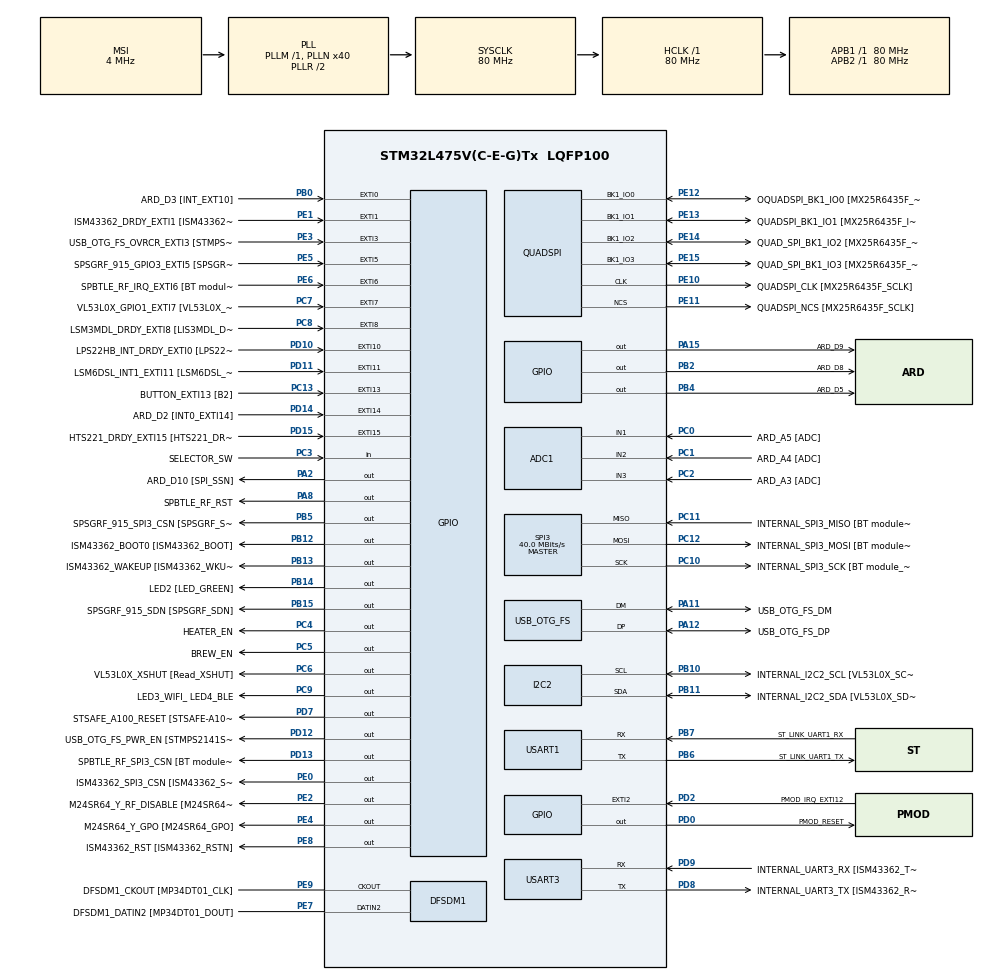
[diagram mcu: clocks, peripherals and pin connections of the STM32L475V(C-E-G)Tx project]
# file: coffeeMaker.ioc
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ADC1.Channel-0\#ChannelRegularConversion=ADC_CHANNEL_1
ADC1.NbrOfConversionFlag=1
ADC1.OffsetNumber-0\#ChannelRegularConversion=ADC_OFFSET_NONE
ADC1.Rank-0\#ChannelRegularConversion=1
ADC1.SamplingTime-0\#ChannelRegularConversion=ADC_SAMPLETIME_2CYCLES_5
ADC1.master=1
I2C2.Timing=0x10909CEC
Mcu.Family=STM32L4
Mcu.Name=STM32L475V(C-E-G)Tx
Mcu.Package=LQFP100
NVIC.EXTI15_10_IRQn=true\:0\:0\:false\:false\:true\:true\:true
NVIC.EXTI9_5_IRQn=true\:0\:0\:false\:false\:true\:true\:true
NVIC.PriorityGroup=NVIC_PRIORITYGROUP_4
NVIC.TIM1_UP_TIM16_IRQn=true\:0\:0\:false\:false\:true\:false\:true
NVIC.TimeBase=TIM1_UP_TIM16_IRQn
NVIC.TimeBaseIP=TIM1
PA0.GPIO_Label=ARD_D1 [UART4_TX]
PA0.Signal=UART4_TX
PA1.GPIO_Label=ARD_D0 [UART4_RX]
PA1.Signal=UART4_RX
PA10.GPIO_Label=USB_OTG_FS_ID
PA10.Signal=USB_OTG_FS_ID
PA11.GPIO_Label=USB_OTG_FS_DM
PA11.Mode=Device_Only
PA11.Signal=USB_OTG_FS_DM
PA12.GPIO_Label=USB_OTG_FS_DP
PA12.Mode=Device_Only
PA12.Signal=USB_OTG_FS_DP
PA13\ (JTMS-SWDIO).GPIO_Label=SYS_JTMS_SWDIO
PA13\ (JTMS-SWDIO).Mode=Serial_Wire
PA13\ (JTMS-SWDIO).Signal=SYS_JTMS-SWDIO
PA14\ (JTCK-SWCLK).GPIO_Label=SYS_JTCK_SWCLK
PA14\ (JTCK-SWCLK).Mode=Serial_Wire
PA14\ (JTCK-SWCLK).Signal=SYS_JTCK-SWCLK
PA15\ (JTDI).GPIO_Label=ARD_D9
PA15\ (JTDI).Signal=GPIO_Output
PA2.GPIO_Label=ARD_D10 [SPI_SSN]
PA2.Signal=GPIO_Output
PA3.GPIO_Label=ARD_D4
PA3.Signal=S_TIM2_CH4
PA4.GPIO_Label=ARD_D7
PA4.Signal=ADCx_IN9
PA5.GPIO_Label=ARD_D13 [SPI1_SCK]
PA5.Signal=SPI1_SCK
PA6.GPIO_Label=ARD_D12 [SPI1_MISO]
PA6.Signal=SPI1_MISO
PA7.GPIO_Label=ARD_D11 [SPI1_MOSI]
PA7.Signal=SPI1_MOSI
PA8.GPIO_Label=SPBTLE_RF_RST
PA8.Signal=GPIO_Output
PA9.GPIO_Label=USB_OTG_FS_VBUS [STMPS2141STR_OUT]
PA9.Signal=USB_OTG_FS_VBUS
PB0.GPIO_Label=ARD_D3 [INT_EXT10]
PB0.Signal=GPXTI0
PB1.GPIO_Label=ARD_D6 [ADC1_IN6]
PB1.Signal=ADCx_IN16
PB10.GPIO_Label=INTERNAL_I2C2_SCL [VL53L0X_SCL]
PB10.Mode=I2C
PB10.Signal=I2C2_SCL
PB11.GPIO_Label=INTERNAL_I2C2_SDA [VL53L0X_SDA]
PB11.Mode=I2C
PB11.Signal=I2C2_SDA
PB12.GPIO_Label=ISM43362_BOOT0 [ISM43362_BOOT]
PB12.Signal=GPIO_Output
PB13.GPIO_Label=ISM43362_WAKEUP [ISM43362_WKUP]
PB13.Signal=GPIO_Output
PB14.GPIO_Label=LED2 [LED_GREEN]
PB14.Signal=GPIO_Output
PB15.GPIO_Label=SPSGRF_915_SDN [SPSGRF_SDN]
PB15.Signal=GPIO_Output
PB2.GPIO_Label=ARD_D8
PB2.Signal=GPIO_Output
PB3\ (JTDO-TRACESWO).GPIO_Label=SYS_JTD0_SWO
PB3\ (JTDO-TRACESWO).Signal=SYS_JTDO-SWO
PB4\ (NJTRST).GPIO_Label=ARD_D5
PB4\ (NJTRST).Signal=GPIO_Output
PB5.GPIO_Label=SPSGRF_915_SPI3_CSN [SPSGRF_SPI_CS]
PB5.PinState=GPIO_PIN_SET
PB5.Signal=GPIO_Output
PB6.GPIO_Label=ST_LINK_UART1_TX
PB6.Mode=Asynchronous
PB6.Signal=USART1_TX
PB7.GPIO_Label=ST_LINK_UART1_RX
PB7.Mode=Asynchronous
PB7.Signal=USART1_RX
PB8.GPIO_Label=ARD_D15 [I2C1_SCL]
PB8.Signal=I2C1_SCL
PB9.GPIO_Label=ARD_D14 [I2C1_SDA]
PB9.Signal=I2C1_SDA
PC0.GPIO_Label=ARD_A5 [ADC]
PC0.Signal=ADCx_IN1
PC1.GPIO_Label=ARD_A4 [ADC]
PC1.Signal=ADCx_IN2
PC10.GPIO_Label=INTERNAL_SPI3_SCK [BT module_SPI_SCLK] [ISM43362_SCK]
PC10.Mode=Full_Duplex_Master
PC10.Signal=SPI3_SCK
PC11.GPIO_Label=INTERNAL_SPI3_MISO [BT module_SPI_MISO] [ISM43362_MISO]
PC11.Mode=Full_Duplex_Master
PC11.Signal=SPI3_MISO
PC12.GPIO_Label=INTERNAL_SPI3_MOSI [BT module_SPI_MOSI] [ISM43362_MOSI]
PC12.Mode=Full_Duplex_Master
PC12.Signal=SPI3_MOSI
PC13.GPIO_Label=BUTTON_EXTI13 [B2]
PC13.GPIO_ModeDefaultEXTI=GPIO_MODE_IT_FALLING
PC13.Signal=GPXTI13
PC14-OSC32_IN\ (PC14).Mode=LSE-External-Oscillator
PC14-OSC32_IN\ (PC14).Signal=RCC_OSC32_IN
PC15-OSC32_OUT\ (PC15).Mode=LSE-External-Oscillator
PC15-OSC32_OUT\ (PC15).Signal=RCC_OSC32_OUT
PC2.GPIO_Label=ARD_A3 [ADC]
PC2.Signal=ADCx_IN3
PC3.GPIO_Label=SELECTOR_SW
PC3.Signal=GPIO_Input
PC4.GPIO_Label=HEATER_EN
PC4.GPIO_PuPd=GPIO_NOPULL
PC4.Signal=GPIO_Output
PC5.GPIO_Label=BREW_EN
PC5.Signal=GPIO_Output
PC6.GPIO_Label=VL53L0X_XSHUT [Read_XSHUT]
PC6.Signal=GPIO_Output
PC7.GPIO_Label=VL53L0X_GPIO1_EXTI7 [VL53L0X_GPIO1]
PC7.Signal=GPXTI7
PC8.GPIO_Label=LSM3MDL_DRDY_EXTI8 [LIS3MDL_DRDY]
PC8.Signal=GPXTI8
PC9.GPIO_Label=LED3_WIFI_ LED4_BLE
PC9.Signal=GPIO_Output
PD0.GPIO_Label=PMOD_RESET
PD0.Signal=GPIO_Output
PD1.GPIO_Label=PMOD_SPI2_SCK
PD1.Signal=SPI2_SCK
PD10.GPIO_Label=LPS22HB_INT_DRDY_EXTI0 [LPS22HB_INT_DRDY] 
PD10.Signal=GPXTI10
PD11.GPIO_Label=LSM6DSL_INT1_EXTI11 [LSM6DSL_INT1]
PD11.Signal=GPXTI11
PD12.GPIO_Label=USB_OTG_FS_PWR_EN [STMPS2141STR_EN]
PD12.Signal=GPIO_Output
PD13.GPIO_Label=SPBTLE_RF_SPI3_CSN [BT module_SPI_CS]
PD13.PinState=GPIO_PIN_SET
PD13.Signal=GPIO_Output
PD14.GPIO_Label=ARD_D2 [INT0_EXTI14]
PD14.Signal=GPXTI14
PD15.GPIO_Label=HTS221_DRDY_EXTI15 [HTS221_DRDY]
PD15.Signal=GPXTI15
PD2.GPIO_Label=PMOD_IRQ_EXTI12
PD2.Signal=GPXTI2
PD3.GPIO_Label=PMOD_UART2_CTS
PD3.Signal=USART2_CTS
PD4.GPIO_Label=PMOD_UART2_RTS
PD4.Signal=USART2_RTS
PD5.GPIO_Label=PMOD_UART2_TX
PD5.Signal=USART2_TX
PD6.GPIO_Label=PMOD_UART2_RX
PD6.Signal=USART2_RX
PD7.GPIO_Label=STSAFE_A100_RESET [STSAFE-A100_RESET]
PD7.Signal=GPIO_Output
PD8.GPIO_Label=INTERNAL_UART3_TX [ISM43362_RX]
PD8.Mode=Asynchronous
PD8.Signal=USART3_TX
PD9.GPIO_Label=INTERNAL_UART3_RX [ISM43362_TX]
PD9.Mode=Asynchronous
PD9.Signal=USART3_RX
PE0.GPIO_Label=ISM43362_SPI3_CSN [ISM43362_SSN]
PE0.PinState=GPIO_PIN_SET
PE0.Signal=GPIO_Output
PE1.GPIO_Label=ISM43362_DRDY_EXTI1 [ISM43362_DATARDY]
PE1.Signal=GPXTI1
PE10.GPIO_Label=QUADSPI_CLK [MX25R6435F_SCLK]
PE10.Mode=Single Bank
PE10.Signal=QUADSPI_CLK
PE11.GPIO_Label=QUADSPI_NCS [MX25R6435F_SCLK]
PE11.Mode=Single Bank
PE11.Signal=QUADSPI_NCS
PE12.GPIO_Label=OQUADSPI_BK1_IO0 [MX25R6435F_IO0]
PE12.Mode=Single Bank
PE12.Signal=QUADSPI_BK1_IO0
PE13.GPIO_Label=QUADSPI_BK1_IO1 [MX25R6435F_IO1]
PE13.Mode=Single Bank
PE13.Signal=QUADSPI_BK1_IO1
PE14.GPIO_Label=QUAD_SPI_BK1_IO2 [MX25R6435F_IO2]
PE14.Mode=Single Bank
PE14.Signal=QUADSPI_BK1_IO2
PE15.GPIO_Label=QUAD_SPI_BK1_IO3 [MX25R6435F_IO3]
PE15.Mode=Single Bank
PE15.Signal=QUADSPI_BK1_IO3
PE2.GPIO_Label=M24SR64_Y_RF_DISABLE [M24SR64_RFDIS]
PE2.Signal=GPIO_Output
PE3.GPIO_Label=USB_OTG_FS_OVRCR_EXTI3 [STMPS2141STR_FAULT]
PE3.Signal=GPXTI3
PE4.GPIO_Label=M24SR64_Y_GPO [M24SR64_GPO]
PE4.Signal=GPIO_Output
PE5.GPIO_Label=SPSGRF_915_GPIO3_EXTI5 [SPSGRF_GPIO_3]
PE5.Signal=GPXTI5
PE6.GPIO_Label=SPBTLE_RF_IRQ_EXTI6 [BT module_SPI_IRQ]
PE6.Signal=GPXTI6
PE7.GPIO_Label=DFSDM1_DATIN2 [MP34DT01_DOUT]
PE7.Signal=S_DATAIN2DFSDM1
PE8.GPIO_Label=ISM43362_RST [ISM43362_RSTN]
PE8.Signal=GPIO_Output
PE9.GPIO_Label=DFSDM1_CKOUT [MP34DT01_CLK]
PE9.Signal=S_CKOUTDFSDM1
ProjectManager.HeapSize=0x200
ProjectManager.StackSize=0x400
ProjectManager.TargetToolchain=STM32CubeIDE
RCC.ADCFreq_Value=48000000
RCC.AHBFreq_Value=80000000
RCC.APB1Freq_Value=80000000
RCC.APB1TimFreq_Value=80000000
RCC.APB2Freq_Value=80000000
RCC.APB2TimFreq_Value=80000000
RCC.CortexFreq_Value=80000000
RCC.HCLKFreq_Value=80000000
RCC.HSE_VALUE=8000000
RCC.HSI_VALUE=16000000
RCC.MSI_VALUE=4000000
RCC.PLLN=40
RCC.PLLSAI1N=24
RCC.SYSCLKFreq_VALUE=80000000
RCC.SYSCLKSource=RCC_SYSCLKSOURCE_PLLCLK
RCC.USBFreq_Value=48000000
RCC.VCOOutputFreq_Value=160000000
SH.ADCx_IN1.0=ADC1_IN1,IN1-Single-Ended
SH.ADCx_IN16.0=ADC1_IN16
SH.ADCx_IN2.0=ADC1_IN2,IN2-Single-Ended
SH.ADCx_IN3.0=ADC1_IN3,IN3-Single-Ended
SH.ADCx_IN9.0=ADC1_IN9
SH.S_CKOUTDFSDM1.0=DFSDM1_CKOUT,CKOUT
SH.S_CKOUTDFSDM1.1=DFSDM1_CKOUT,PDM_SPI_Input_from_ch12_and_Internal_Clock
SH.S_DATAIN2DFSDM1.0=DFSDM1_DATIN2,PDM_SPI_Input_from_ch12_and_Internal_Clock
SH.S_TIM2_CH4.0=TIM2_CH4
SPI3.CalculateBaudRate=40.0 MBits/s
SPI3.Direction=SPI_DIRECTION_2LINES
SPI3.Mode=SPI_MODE_MASTER
SPI3.VirtualType=VM_MASTER
USART1.VirtualMode-Asynchronous=VM_ASYNC
USART3.VirtualMode-Asynchronous=VM_ASYNC
USB_OTG_FS.VirtualMode=Device_Only
VP_SYS_VS_tim1.Mode=TIM1
board=B-L475E-IOT01A1

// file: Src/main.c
/* USER CODE BEGIN Header */
/**
  ******************************************************************************
  * @file           : main.c
  * @brief          : Main program body
  ******************************************************************************
  * @attention
  *
  * <h2><center>&copy; Copyright (c) 2020 STMicroelectronics.
  * All rights reserved.</center></h2>
  *
  * This software component is licensed by ST under BSD 3-Clause license,
  * the "License"; You may not use this file except in compliance with the
  * License. You may obtain a copy of the License at:
  *                        opensource.org/licenses/BSD-3-Clause
  *
  ******************************************************************************
  */
/* USER CODE END Header */

#include "main.h"

/* USER CODE BEGIN Includes */
#include "stdio.h"
#include "string.h"
/* USER CODE END Includes */

/* USER CODE BEGIN PD */
#define RED_ON_BLK  "31;40"
#define WHT_ON_BLK  "37;40"
#define YEL_ON_BLK  "33;40"
#define GRN_ON_BLK  "32;40"
#define BLU_ON_BLK  "34;40"

#define BLK_ON_RED  "30;41"
#define BLK_ON_WHT  "30;47"
#define BLK_ON_YEL  "30;43"
#define BLK_ON_GRN  "30;42"

#define NORMAL WHT_ON_BLK

#define SET_WARM_MODE(enable) HAL_GPIO_WritePin(HEATER_EN_GPIO_Port, HEATER_EN_Pin, !enable)
#define SET_BREW_MODE(enable) HAL_GPIO_WritePin(BREW_EN_GPIO_Port, BREW_EN_Pin, !enable)
#define GET_SELECTOR_SW !HAL_GPIO_ReadPin(BUTTON_EXTI13_GPIO_Port, BUTTON_EXTI13_Pin)

#define SELECT_SET_LEVEL        1
#define SELECT_SET_TEMPERATURE  2

/* USER CODE END PD */

ADC_HandleTypeDef hadc1;

DFSDM_Channel_HandleTypeDef hdfsdm1_channel1;

I2C_HandleTypeDef hi2c2;

QSPI_HandleTypeDef hqspi;

SPI_HandleTypeDef hspi3;

UART_HandleTypeDef huart1;
UART_HandleTypeDef huart3;

PCD_HandleTypeDef hpcd_USB_OTG_FS;

void SystemClock_Config(void);
static void MX_GPIO_Init(void);
static void MX_ADC1_Init(void);
static void MX_DFSDM1_Init(void);
static void MX_I2C2_Init(void);
static void MX_QUADSPI_Init(void);
static void MX_SPI3_Init(void);
static void MX_USART1_UART_Init(void);
static void MX_USART3_UART_Init(void);
static void MX_USB_OTG_FS_PCD_Init(void);

/* USER CODE BEGIN 0 */

void ansiEscapePrint(uint8_t x, uint8_t y, char * color, char * str)
{
  char buf[80];
  sprintf(buf, "\033[%d;%dH\033[%sm%s", y, x, color, str);
  HAL_UART_Transmit(&huart1, (uint8_t *)buf, strlen(buf), 1000);
  sprintf(buf, "\033[1D");
  HAL_UART_Transmit(&huart1, (uint8_t *)buf, strlen(buf), 1000);
}

/* USER CODE END 0 */

int main(void)
{

  /* MCU Configuration--------------------------------------------------------*/

  /* Reset of all peripherals, Initializes the Flash interface and the Systick. */
  HAL_Init();

  /* Configure the system clock */
  SystemClock_Config();

  /* Initialize all configured peripherals */
  MX_GPIO_Init();
  MX_ADC1_Init();
  MX_DFSDM1_Init();
  MX_I2C2_Init();
  MX_QUADSPI_Init();
  MX_SPI3_Init();
  MX_USART1_UART_Init();
  MX_USART3_UART_Init();
  MX_USB_OTG_FS_PCD_Init();

  /* Infinite loop */
  /* USER CODE BEGIN WHILE */
  uint32_t adcSelector;
  uint32_t selectorSw;
  uint32_t selectMode = 0;
  uint32_t enableBrew = 0;
  uint32_t adcLevel;
  uint32_t adcTemperature;
  uint32_t tempSetpoint=10;
  uint32_t levelSetpoint=0;

  char buf[256];

  int16_t y = 20;
  int16_t old_y = y;

  ADC_ChannelConfTypeDef sConfig;
      sConfig.Channel = ADC_CHANNEL_1;
      sConfig.Rank = ADC_REGULAR_RANK_1;
      sConfig.SamplingTime = ADC_SAMPLETIME_2CYCLES_5;
      sConfig.SingleDiff = ADC_SINGLE_ENDED;
      sConfig.OffsetNumber = ADC_OFFSET_NONE;
      sConfig.Offset = 0;

  snprintf(buf, sizeof(buf), "\033[2J");
  HAL_UART_Transmit(&huart1, (uint8_t *)buf, strlen(buf), 1000);
  ansiEscapePrint(0, 1, BLU_ON_BLK,  "Welcome to Embedded Real-Time Operating Systems (RTOS)");
  ansiEscapePrint(0, 2, BLU_ON_BLK,  "~~~~~~~~~~~~~~~~~~~~~~~~~~~~~~~~~~~~~~~~~~~~~~~~~~~~~~");
  ansiEscapePrint(0, 3, BLU_ON_BLK,  "~            Assignment: Final Project               ~");
  ansiEscapePrint(0, 4, BLU_ON_BLK,  "~         Course Number: ECE-40290                   ~");
  ansiEscapePrint(0, 5, BLU_ON_BLK,  "~            Section ID: 146369                      ~");
  ansiEscapePrint(0, 6, BLU_ON_BLK,  "~          Student Name: Chris Isabelle              ~");
  ansiEscapePrint(0, 7, BLU_ON_BLK,  "~                   SID: U01136665                   ~");
  ansiEscapePrint(0, 8, BLU_ON_BLK,  "~~~~~~~~~~~~~~~~~~~~~~~~~~~~~~~~~~~~~~~~~~~~~~~~~~~~~~");

  ansiEscapePrint(4, 10, YEL_ON_BLK,  "  Coffee Level (oz)");
  ansiEscapePrint(16, 11, YEL_ON_BLK,  "   Set:");
  ansiEscapePrint(24, 11, RED_ON_BLK,  "unknown");
  ansiEscapePrint(16, 12, YEL_ON_BLK,  "Actual:");

  ansiEscapePrint(4, 14, YEL_ON_BLK,  "  Coffee Temperature (degC)");
  ansiEscapePrint(16, 15, YEL_ON_BLK,  "   Set:");
  ansiEscapePrint(24, 15, RED_ON_BLK,  "unknown");
  ansiEscapePrint(16, 16, YEL_ON_BLK,  "Actual:");

  ansiEscapePrint(4, 18, YEL_ON_BLK,  "  Start Brew");
  ansiEscapePrint(4, 20, GRN_ON_BLK,  ">>Use Joy-Stick to Select");

  SET_WARM_MODE(0);
  SET_BREW_MODE(0);

  while (1)
  {
    if(!enableBrew)
    {
      selectorSw = GET_SELECTOR_SW;

      sConfig.Channel = ADC_CHANNEL_1;
      HAL_ADC_ConfigChannel(&hadc1, &sConfig);
      HAL_ADC_Start(&hadc1);
      while(HAL_ADC_PollForConversion(&hadc1, HAL_MAX_DELAY)!=HAL_OK);
      adcSelector = HAL_ADC_GetValue(&hadc1);

      y += (((int16_t)adcSelector)-1790)/512;
      y=y>0xf?0xf:y;
      y=y<0?0:y;

      if(selectorSw)
      {
        if(selectMode)
        {
          selectMode = 0;
          y=0xc;
          ansiEscapePrint(4, 20, GRN_ON_BLK,  ">>Use Joy-Stick to Select ");
        }
        else
        {
          switch(y&0xc)
          {
            case(0x0):  selectMode = SELECT_SET_LEVEL;
                        HAL_Delay(500);
                        continue;
            case(0x4):  selectMode = SELECT_SET_TEMPERATURE;
                        HAL_Delay(500);
                        continue;
            case(0x8):  selectMode = 0;
                        enableBrew = 1;
                        ansiEscapePrint(4, 18, YEL_ON_BLK,  "  Start Brew");
                        ansiEscapePrint(6, 24, GRN_ON_BLK,  "~~~~~~~~~~~~~~~~~~~~~~~~~~~");
                        ansiEscapePrint(6, 25, GRN_ON_BLK,  "~    Coffee Brew :        ~");
                        ansiEscapePrint(6, 26, GRN_ON_BLK,  "~  Coffee Warmer :        ~");
                        ansiEscapePrint(6, 27, GRN_ON_BLK,  "~~~~~~~~~~~~~~~~~~~~~~~~~~~");
                        continue;
          }
        }
      }

      switch(selectMode)
      {
        case(SELECT_SET_LEVEL):
            if(adcSelector > 3096)
              levelSetpoint--;
            if(adcSelector < 1024)
              levelSetpoint++;
            if(levelSetpoint > 20)
              levelSetpoint=20;
            if(levelSetpoint < 4)
              levelSetpoint=4;
            sprintf(buf, "%li oz    ", levelSetpoint);
            ansiEscapePrint(24, 11, GRN_ON_BLK,  buf);
            HAL_Delay(250);
            continue;
            break;
        case(SELECT_SET_TEMPERATURE):
            if(adcSelector > 3096)
              tempSetpoint--;
            if(adcSelector < 1024)
              tempSetpoint++;
            if(tempSetpoint>60)
              tempSetpoint=60;
            if(tempSetpoint<24)
              tempSetpoint=24;
            sprintf(buf, "%li degC / %li degF ", tempSetpoint, (uint32_t)((double)tempSetpoint * 1.8) + 32);
            ansiEscapePrint(24, 15, GRN_ON_BLK,  buf);
            HAL_Delay(250);
            continue;
            break;
      }

      if(y!=old_y)
      {
        ansiEscapePrint(4, 10, YEL_ON_BLK,  "  Coffee Level (oz)");
        ansiEscapePrint(4, 14, YEL_ON_BLK,  "  Coffee Temperature (degC)");
        ansiEscapePrint(4, 18, YEL_ON_BLK,  "  Start Brew");
        ansiEscapePrint(4, 20, YEL_ON_BLK,  "  Use Joy-Stick to Select");
        switch(y&0xc)
        {
          case(0x0):ansiEscapePrint(4, 10, GRN_ON_BLK,  ">>Coffee Level (oz) "); break;
          case(0x4):ansiEscapePrint(4, 14, GRN_ON_BLK,  ">>Coffee Temperature (degC) "); break;
          case(0x8):ansiEscapePrint(4, 18, GRN_ON_BLK,  ">>Start Brew "); break;
          case(0xc):ansiEscapePrint(4, 20, GRN_ON_BLK,  ">>Use Joy-Stick to Select "); break;
        }
        old_y=y;
      }

      HAL_Delay(250);

    }
    else
    {

      sConfig.Channel = ADC_CHANNEL_2;
      HAL_ADC_ConfigChannel(&hadc1, &sConfig);
      HAL_ADC_Start(&hadc1);
      while(HAL_ADC_PollForConversion(&hadc1, HAL_MAX_DELAY)!=HAL_OK);
      adcLevel = HAL_ADC_GetValue(&hadc1);
      adcLevel = (uint32_t)( ((float)HAL_ADC_GetValue(&hadc1)/4096) * 24);

      sprintf(buf, "%li oz  ", adcLevel);
      ansiEscapePrint(24, 12, GRN_ON_BLK,  buf);

      sConfig.Channel = ADC_CHANNEL_3;
      HAL_ADC_ConfigChannel(&hadc1, &sConfig);
      HAL_ADC_Start(&hadc1);
      while(HAL_ADC_PollForConversion(&hadc1, HAL_MAX_DELAY)!=HAL_OK);
      adcTemperature = HAL_ADC_GetValue(&hadc1);
      adcTemperature = (uint32_t)( ((float)HAL_ADC_GetValue(&hadc1)/4096) * 100);

      sprintf(buf, "%li degC / %li degF ", adcTemperature, (uint32_t)((double)adcTemperature * 1.8) + 32);
      ansiEscapePrint(24, 16, GRN_ON_BLK,  buf);

      if(adcLevel >= levelSetpoint)
      {
        SET_BREW_MODE(0);
        ansiEscapePrint(25, 25, RED_ON_BLK,  "READY");
      }
      else
      {
        SET_BREW_MODE(1);
        ansiEscapePrint(25, 25, GRN_ON_BLK,  "ON ");
      }

      if(adcTemperature > (tempSetpoint+1))
      {
        SET_WARM_MODE(0);
        ansiEscapePrint(25, 26, YEL_ON_BLK,  "OFF");
      }

      if(adcTemperature < (tempSetpoint-1))
      {
        SET_WARM_MODE(1);
        ansiEscapePrint(25, 26, RED_ON_BLK,  "ON ");
      }

      ansiEscapePrint(0, 0, WHT_ON_BLK,  "");
    }
    /* USER CODE END WHILE */

  }
}

void SystemClock_Config(void)
{
  RCC_OscInitTypeDef RCC_OscInitStruct = {0};
  RCC_ClkInitTypeDef RCC_ClkInitStruct = {0};
  RCC_PeriphCLKInitTypeDef PeriphClkInit = {0};

  /** Configure LSE Drive Capability
  */
  HAL_PWR_EnableBkUpAccess();
  __HAL_RCC_LSEDRIVE_CONFIG(RCC_LSEDRIVE_LOW);
  /** Initializes the CPU, AHB and APB busses clocks
  */
  RCC_OscInitStruct.OscillatorType = RCC_OSCILLATORTYPE_LSE|RCC_OSCILLATORTYPE_MSI;
  RCC_OscInitStruct.LSEState = RCC_LSE_ON;
  RCC_OscInitStruct.MSIState = RCC_MSI_ON;
  RCC_OscInitStruct.MSICalibrationValue = 0;
  RCC_OscInitStruct.MSIClockRange = RCC_MSIRANGE_6;
  RCC_OscInitStruct.PLL.PLLState = RCC_PLL_ON;
  RCC_OscInitStruct.PLL.PLLSource = RCC_PLLSOURCE_MSI;
  RCC_OscInitStruct.PLL.PLLM = 1;
  RCC_OscInitStruct.PLL.PLLN = 40;
  RCC_OscInitStruct.PLL.PLLP = RCC_PLLP_DIV7;
  RCC_OscInitStruct.PLL.PLLQ = RCC_PLLQ_DIV2;
  RCC_OscInitStruct.PLL.PLLR = RCC_PLLR_DIV2;
  if (HAL_RCC_OscConfig(&RCC_OscInitStruct) != HAL_OK)
  {
    Error_Handler();
  }
  /** Initializes the CPU, AHB and APB busses clocks
  */
  RCC_ClkInitStruct.ClockType = RCC_CLOCKTYPE_HCLK|RCC_CLOCKTYPE_SYSCLK
                              |RCC_CLOCKTYPE_PCLK1|RCC_CLOCKTYPE_PCLK2;
  RCC_ClkInitStruct.SYSCLKSource = RCC_SYSCLKSOURCE_PLLCLK;
  RCC_ClkInitStruct.AHBCLKDivider = RCC_SYSCLK_DIV1;
  RCC_ClkInitStruct.APB1CLKDivider = RCC_HCLK_DIV1;
  RCC_ClkInitStruct.APB2CLKDivider = RCC_HCLK_DIV1;

  if (HAL_RCC_ClockConfig(&RCC_ClkInitStruct, FLASH_LATENCY_4) != HAL_OK)
  {
    Error_Handler();
  }
  PeriphClkInit.PeriphClockSelection = RCC_PERIPHCLK_USART1|RCC_PERIPHCLK_USART3
                              |RCC_PERIPHCLK_I2C2|RCC_PERIPHCLK_DFSDM1
                              |RCC_PERIPHCLK_USB|RCC_PERIPHCLK_ADC;
  PeriphClkInit.Usart1ClockSelection = RCC_USART1CLKSOURCE_PCLK2;
  PeriphClkInit.Usart3ClockSelection = RCC_USART3CLKSOURCE_PCLK1;
  PeriphClkInit.I2c2ClockSelection = RCC_I2C2CLKSOURCE_PCLK1;
  PeriphClkInit.AdcClockSelection = RCC_ADCCLKSOURCE_PLLSAI1;
  PeriphClkInit.Dfsdm1ClockSelection = RCC_DFSDM1CLKSOURCE_PCLK;
  PeriphClkInit.UsbClockSelection = RCC_USBCLKSOURCE_PLLSAI1;
  PeriphClkInit.PLLSAI1.PLLSAI1Source = RCC_PLLSOURCE_MSI;
  PeriphClkInit.PLLSAI1.PLLSAI1M = 1;
  PeriphClkInit.PLLSAI1.PLLSAI1N = 24;
  PeriphClkInit.PLLSAI1.PLLSAI1P = RCC_PLLP_DIV7;
  PeriphClkInit.PLLSAI1.PLLSAI1Q = RCC_PLLQ_DIV2;
  PeriphClkInit.PLLSAI1.PLLSAI1R = RCC_PLLR_DIV2;
  PeriphClkInit.PLLSAI1.PLLSAI1ClockOut = RCC_PLLSAI1_48M2CLK|RCC_PLLSAI1_ADC1CLK;
  if (HAL_RCCEx_PeriphCLKConfig(&PeriphClkInit) != HAL_OK)
  {
    Error_Handler();
  }
  /** Configure the main internal regulator output voltage
  */
  if (HAL_PWREx_ControlVoltageScaling(PWR_REGULATOR_VOLTAGE_SCALE1) != HAL_OK)
  {
    Error_Handler();
  }
  /** Enable MSI Auto calibration
  */
  HAL_RCCEx_EnableMSIPLLMode();
}

static void MX_ADC1_Init(void)
{

  ADC_MultiModeTypeDef multimode = {0};
  ADC_ChannelConfTypeDef sConfig = {0};

  /** Common config
  */
  hadc1.Instance = ADC1;
  hadc1.Init.ClockPrescaler = ADC_CLOCK_ASYNC_DIV1;
  hadc1.Init.Resolution = ADC_RESOLUTION_12B;
  hadc1.Init.DataAlign = ADC_DATAALIGN_RIGHT;
  hadc1.Init.ScanConvMode = ADC_SCAN_DISABLE;
  hadc1.Init.EOCSelection = ADC_EOC_SINGLE_CONV;
  hadc1.Init.LowPowerAutoWait = DISABLE;
  hadc1.Init.ContinuousConvMode = DISABLE;
  hadc1.Init.NbrOfConversion = 1;
  hadc1.Init.DiscontinuousConvMode = DISABLE;
  hadc1.Init.NbrOfDiscConversion = 1;
  hadc1.Init.ExternalTrigConv = ADC_SOFTWARE_START;
  hadc1.Init.ExternalTrigConvEdge = ADC_EXTERNALTRIGCONVEDGE_NONE;
  hadc1.Init.DMAContinuousRequests = DISABLE;
  hadc1.Init.Overrun = ADC_OVR_DATA_PRESERVED;
  hadc1.Init.OversamplingMode = DISABLE;
  if (HAL_ADC_Init(&hadc1) != HAL_OK)
  {
    Error_Handler();
  }
  /** Configure the ADC multi-mode
  */
  multimode.Mode = ADC_MODE_INDEPENDENT;
  if (HAL_ADCEx_MultiModeConfigChannel(&hadc1, &multimode) != HAL_OK)
  {
    Error_Handler();
  }
  /** Configure Regular Channel
  */
  sConfig.Channel = ADC_CHANNEL_1;
  sConfig.Rank = ADC_REGULAR_RANK_1;
  sConfig.SamplingTime = ADC_SAMPLETIME_2CYCLES_5;
  sConfig.SingleDiff = ADC_SINGLE_ENDED;
  sConfig.OffsetNumber = ADC_OFFSET_NONE;
  sConfig.Offset = 0;
  if (HAL_ADC_ConfigChannel(&hadc1, &sConfig) != HAL_OK)
  {
    Error_Handler();
  }

}

static void MX_DFSDM1_Init(void)
{

  hdfsdm1_channel1.Instance = DFSDM1_Channel1;
  hdfsdm1_channel1.Init.OutputClock.Activation = ENABLE;
  hdfsdm1_channel1.Init.OutputClock.Selection = DFSDM_CHANNEL_OUTPUT_CLOCK_SYSTEM;
  hdfsdm1_channel1.Init.OutputClock.Divider = 2;
  hdfsdm1_channel1.Init.Input.Multiplexer = DFSDM_CHANNEL_EXTERNAL_INPUTS;
  hdfsdm1_channel1.Init.Input.DataPacking = DFSDM_CHANNEL_STANDARD_MODE;
  hdfsdm1_channel1.Init.Input.Pins = DFSDM_CHANNEL_FOLLOWING_CHANNEL_PINS;
  hdfsdm1_channel1.Init.SerialInterface.Type = DFSDM_CHANNEL_SPI_RISING;
  hdfsdm1_channel1.Init.SerialInterface.SpiClock = DFSDM_CHANNEL_SPI_CLOCK_INTERNAL;
  hdfsdm1_channel1.Init.Awd.FilterOrder = DFSDM_CHANNEL_FASTSINC_ORDER;
  hdfsdm1_channel1.Init.Awd.Oversampling = 1;
  hdfsdm1_channel1.Init.Offset = 0;
  hdfsdm1_channel1.Init.RightBitShift = 0x00;
  if (HAL_DFSDM_ChannelInit(&hdfsdm1_channel1) != HAL_OK)
  {
    Error_Handler();
  }

}

static void MX_I2C2_Init(void)
{

  hi2c2.Instance = I2C2;
  hi2c2.Init.Timing = 0x10909CEC;
  hi2c2.Init.OwnAddress1 = 0;
  hi2c2.Init.AddressingMode = I2C_ADDRESSINGMODE_7BIT;
  hi2c2.Init.DualAddressMode = I2C_DUALADDRESS_DISABLE;
  hi2c2.Init.OwnAddress2 = 0;
  hi2c2.Init.OwnAddress2Masks = I2C_OA2_NOMASK;
  hi2c2.Init.GeneralCallMode = I2C_GENERALCALL_DISABLE;
  hi2c2.Init.NoStretchMode = I2C_NOSTRETCH_DISABLE;
  if (HAL_I2C_Init(&hi2c2) != HAL_OK)
  {
    Error_Handler();
  }
  /** Configure Analogue filter
  */
  if (HAL_I2CEx_ConfigAnalogFilter(&hi2c2, I2C_ANALOGFILTER_ENABLE) != HAL_OK)
  {
    Error_Handler();
  }
  /** Configure Digital filter
  */
  if (HAL_I2CEx_ConfigDigitalFilter(&hi2c2, 0) != HAL_OK)
  {
    Error_Handler();
  }

}

static void MX_QUADSPI_Init(void)
{

  /* QUADSPI parameter configuration*/
  hqspi.Instance = QUADSPI;
  hqspi.Init.ClockPrescaler = 255;
  hqspi.Init.FifoThreshold = 1;
  hqspi.Init.SampleShifting = QSPI_SAMPLE_SHIFTING_NONE;
  hqspi.Init.FlashSize = 1;
  hqspi.Init.ChipSelectHighTime = QSPI_CS_HIGH_TIME_1_CYCLE;
  hqspi.Init.ClockMode = QSPI_CLOCK_MODE_0;
  if (HAL_QSPI_Init(&hqspi) != HAL_OK)
  {
    Error_Handler();
  }

}

static void MX_SPI3_Init(void)
{

  /* SPI3 parameter configuration*/
  hspi3.Instance = SPI3;
  hspi3.Init.Mode = SPI_MODE_MASTER;
  hspi3.Init.Direction = SPI_DIRECTION_2LINES;
  hspi3.Init.DataSize = SPI_DATASIZE_4BIT;
  hspi3.Init.CLKPolarity = SPI_POLARITY_LOW;
  hspi3.Init.CLKPhase = SPI_PHASE_1EDGE;
  hspi3.Init.NSS = SPI_NSS_SOFT;
  hspi3.Init.BaudRatePrescaler = SPI_BAUDRATEPRESCALER_2;
  hspi3.Init.FirstBit = SPI_FIRSTBIT_MSB;
  hspi3.Init.TIMode = SPI_TIMODE_DISABLE;
  hspi3.Init.CRCCalculation = SPI_CRCCALCULATION_DISABLE;
  hspi3.Init.CRCPolynomial = 7;
  hspi3.Init.CRCLength = SPI_CRC_LENGTH_DATASIZE;
  hspi3.Init.NSSPMode = SPI_NSS_PULSE_ENABLE;
  if (HAL_SPI_Init(&hspi3) != HAL_OK)
  {
    Error_Handler();
  }

}

static void MX_USART1_UART_Init(void)
{

  huart1.Instance = USART1;
  huart1.Init.BaudRate = 115200;
  huart1.Init.WordLength = UART_WORDLENGTH_8B;
  huart1.Init.StopBits = UART_STOPBITS_1;
  huart1.Init.Parity = UART_PARITY_NONE;
  huart1.Init.Mode = UART_MODE_TX_RX;
  huart1.Init.HwFlowCtl = UART_HWCONTROL_NONE;
  huart1.Init.OverSampling = UART_OVERSAMPLING_16;
  huart1.Init.OneBitSampling = UART_ONE_BIT_SAMPLE_DISABLE;
  huart1.AdvancedInit.AdvFeatureInit = UART_ADVFEATURE_NO_INIT;
  if (HAL_UART_Init(&huart1) != HAL_OK)
  {
    Error_Handler();
  }

}

static void MX_USART3_UART_Init(void)
{

  huart3.Instance = USART3;
  huart3.Init.BaudRate = 115200;
  huart3.Init.WordLength = UART_WORDLENGTH_8B;
  huart3.Init.StopBits = UART_STOPBITS_1;
  huart3.Init.Parity = UART_PARITY_NONE;
  huart3.Init.Mode = UART_MODE_TX_RX;
  huart3.Init.HwFlowCtl = UART_HWCONTROL_NONE;
  huart3.Init.OverSampling = UART_OVERSAMPLING_16;
  huart3.Init.OneBitSampling = UART_ONE_BIT_SAMPLE_DISABLE;
  huart3.AdvancedInit.AdvFeatureInit = UART_ADVFEATURE_NO_INIT;
  if (HAL_UART_Init(&huart3) != HAL_OK)
  {
    Error_Handler();
  }

}

static void MX_USB_OTG_FS_PCD_Init(void)
{

  hpcd_USB_OTG_FS.Instance = USB_OTG_FS;
  hpcd_USB_OTG_FS.Init.dev_endpoints = 6;
  hpcd_USB_OTG_FS.Init.speed = PCD_SPEED_FULL;
  hpcd_USB_OTG_FS.Init.phy_itface = PCD_PHY_EMBEDDED;
  hpcd_USB_OTG_FS.Init.Sof_enable = DISABLE;
  hpcd_USB_OTG_FS.Init.low_power_enable = DISABLE;
  hpcd_USB_OTG_FS.Init.lpm_enable = DISABLE;
  hpcd_USB_OTG_FS.Init.battery_charging_enable = DISABLE;
  hpcd_USB_OTG_FS.Init.use_dedicated_ep1 = DISABLE;
  hpcd_USB_OTG_FS.Init.vbus_sensing_enable = DISABLE;
  if (HAL_PCD_Init(&hpcd_USB_OTG_FS) != HAL_OK)
  {
    Error_Handler();
  }

}

static void MX_GPIO_Init(void)
{
  GPIO_InitTypeDef GPIO_InitStruct = {0};

  /* GPIO Ports Clock Enable */
  __HAL_RCC_GPIOE_CLK_ENABLE();
  __HAL_RCC_GPIOC_CLK_ENABLE();
  __HAL_RCC_GPIOA_CLK_ENABLE();
  __HAL_RCC_GPIOB_CLK_ENABLE();
  __HAL_RCC_GPIOD_CLK_ENABLE();

  /*Configure GPIO pin Output Level */
  HAL_GPIO_WritePin(GPIOE, M24SR64_Y_RF_DISABLE_Pin|M24SR64_Y_GPO_Pin|ISM43362_RST_Pin, GPIO_PIN_RESET);

  /*Configure GPIO pin Output Level */
  HAL_GPIO_WritePin(GPIOA, ARD_D10_Pin|SPBTLE_RF_RST_Pin|ARD_D9_Pin, GPIO_PIN_RESET);

  /*Configure GPIO pin Output Level */
  HAL_GPIO_WritePin(GPIOC, HEATER_EN_Pin|BREW_EN_Pin|VL53L0X_XSHUT_Pin|LED3_WIFI__LED4_BLE_Pin, GPIO_PIN_RESET);

  /*Configure GPIO pin Output Level */
  HAL_GPIO_WritePin(GPIOB, ARD_D8_Pin|ISM43362_BOOT0_Pin|ISM43362_WAKEUP_Pin|LED2_Pin
                          |SPSGRF_915_SDN_Pin|ARD_D5_Pin, GPIO_PIN_RESET);

  /*Configure GPIO pin Output Level */
  HAL_GPIO_WritePin(GPIOD, USB_OTG_FS_PWR_EN_Pin|PMOD_RESET_Pin|STSAFE_A100_RESET_Pin, GPIO_PIN_RESET);

  /*Configure GPIO pin Output Level */
  HAL_GPIO_WritePin(SPBTLE_RF_SPI3_CSN_GPIO_Port, SPBTLE_RF_SPI3_CSN_Pin, GPIO_PIN_SET);

  /*Configure GPIO pin Output Level */
  HAL_GPIO_WritePin(SPSGRF_915_SPI3_CSN_GPIO_Port, SPSGRF_915_SPI3_CSN_Pin, GPIO_PIN_SET);

  /*Configure GPIO pin Output Level */
  HAL_GPIO_WritePin(ISM43362_SPI3_CSN_GPIO_Port, ISM43362_SPI3_CSN_Pin, GPIO_PIN_SET);

  /*Configure GPIO pins : M24SR64_Y_RF_DISABLE_Pin M24SR64_Y_GPO_Pin ISM43362_RST_Pin ISM43362_SPI3_CSN_Pin */
  GPIO_InitStruct.Pin = M24SR64_Y_RF_DISABLE_Pin|M24SR64_Y_GPO_Pin|ISM43362_RST_Pin|ISM43362_SPI3_CSN_Pin;
  GPIO_InitStruct.Mode = GPIO_MODE_OUTPUT_PP;
  GPIO_InitStruct.Pull = GPIO_NOPULL;
  GPIO_InitStruct.Speed = GPIO_SPEED_FREQ_LOW;
  HAL_GPIO_Init(GPIOE, &GPIO_InitStruct);

  /*Configure GPIO pins : USB_OTG_FS_OVRCR_EXTI3_Pin SPSGRF_915_GPIO3_EXTI5_Pin SPBTLE_RF_IRQ_EXTI6_Pin ISM43362_DRDY_EXTI1_Pin */
  GPIO_InitStruct.Pin = USB_OTG_FS_OVRCR_EXTI3_Pin|SPSGRF_915_GPIO3_EXTI5_Pin|SPBTLE_RF_IRQ_EXTI6_Pin|ISM43362_DRDY_EXTI1_Pin;
  GPIO_InitStruct.Mode = GPIO_MODE_IT_RISING;
  GPIO_InitStruct.Pull = GPIO_NOPULL;
  HAL_GPIO_Init(GPIOE, &GPIO_InitStruct);

  /*Configure GPIO pin : BUTTON_EXTI13_Pin */
  GPIO_InitStruct.Pin = BUTTON_EXTI13_Pin;
  GPIO_InitStruct.Mode = GPIO_MODE_IT_FALLING;
  GPIO_InitStruct.Pull = GPIO_NOPULL;
  HAL_GPIO_Init(BUTTON_EXTI13_GPIO_Port, &GPIO_InitStruct);

  /*Configure GPIO pin : SELECTOR_SW_Pin */
  GPIO_InitStruct.Pin = SELECTOR_SW_Pin;
  GPIO_InitStruct.Mode = GPIO_MODE_INPUT;
  GPIO_InitStruct.Pull = GPIO_NOPULL;
  HAL_GPIO_Init(SELECTOR_SW_GPIO_Port, &GPIO_InitStruct);

  /*Configure GPIO pins : ARD_D1_Pin ARD_D0_Pin */
  GPIO_InitStruct.Pin = ARD_D1_Pin|ARD_D0_Pin;
  GPIO_InitStruct.Mode = GPIO_MODE_AF_PP;
  GPIO_InitStruct.Pull = GPIO_NOPULL;
  GPIO_InitStruct.Speed = GPIO_SPEED_FREQ_VERY_HIGH;
  GPIO_InitStruct.Alternate = GPIO_AF8_UART4;
  HAL_GPIO_Init(GPIOA, &GPIO_InitStruct);

  /*Configure GPIO pins : ARD_D10_Pin SPBTLE_RF_RST_Pin ARD_D9_Pin */
  GPIO_InitStruct.Pin = ARD_D10_Pin|SPBTLE_RF_RST_Pin|ARD_D9_Pin;
  GPIO_InitStruct.Mode = GPIO_MODE_OUTPUT_PP;
  GPIO_InitStruct.Pull = GPIO_NOPULL;
  GPIO_InitStruct.Speed = GPIO_SPEED_FREQ_LOW;
  HAL_GPIO_Init(GPIOA, &GPIO_InitStruct);

  /*Configure GPIO pin : ARD_D4_Pin */
  GPIO_InitStruct.Pin = ARD_D4_Pin;
  GPIO_InitStruct.Mode = GPIO_MODE_AF_PP;
  GPIO_InitStruct.Pull = GPIO_NOPULL;
  GPIO_InitStruct.Speed = GPIO_SPEED_FREQ_LOW;
  GPIO_InitStruct.Alternate = GPIO_AF1_TIM2;
  HAL_GPIO_Init(ARD_D4_GPIO_Port, &GPIO_InitStruct);

  /*Configure GPIO pins : ARD_D13_Pin ARD_D12_Pin ARD_D11_Pin */
  GPIO_InitStruct.Pin = ARD_D13_Pin|ARD_D12_Pin|ARD_D11_Pin;
  GPIO_InitStruct.Mode = GPIO_MODE_AF_PP;
  GPIO_InitStruct.Pull = GPIO_NOPULL;
  GPIO_InitStruct.Speed = GPIO_SPEED_FREQ_VERY_HIGH;
  GPIO_InitStruct.Alternate = GPIO_AF5_SPI1;
  HAL_GPIO_Init(GPIOA, &GPIO_InitStruct);

  /*Configure GPIO pins : HEATER_EN_Pin BREW_EN_Pin VL53L0X_XSHUT_Pin LED3_WIFI__LED4_BLE_Pin */
  GPIO_InitStruct.Pin = HEATER_EN_Pin|BREW_EN_Pin|VL53L0X_XSHUT_Pin|LED3_WIFI__LED4_BLE_Pin;
  GPIO_InitStruct.Mode = GPIO_MODE_OUTPUT_PP;
  GPIO_InitStruct.Pull = GPIO_NOPULL;
  GPIO_InitStruct.Speed = GPIO_SPEED_FREQ_LOW;
  HAL_GPIO_Init(GPIOC, &GPIO_InitStruct);

  /*Configure GPIO pin : ARD_D3_Pin */
  GPIO_InitStruct.Pin = ARD_D3_Pin;
  GPIO_InitStruct.Mode = GPIO_MODE_IT_RISING;
  GPIO_InitStruct.Pull = GPIO_NOPULL;
  HAL_GPIO_Init(ARD_D3_GPIO_Port, &GPIO_InitStruct);

  /*Configure GPIO pins : ARD_D8_Pin ISM43362_BOOT0_Pin ISM43362_WAKEUP_Pin LED2_Pin
                           SPSGRF_915_SDN_Pin ARD_D5_Pin SPSGRF_915_SPI3_CSN_Pin */
  GPIO_InitStruct.Pin = ARD_D8_Pin|ISM43362_BOOT0_Pin|ISM43362_WAKEUP_Pin|LED2_Pin
                          |SPSGRF_915_SDN_Pin|ARD_D5_Pin|SPSGRF_915_SPI3_CSN_Pin;
  GPIO_InitStruct.Mode = GPIO_MODE_OUTPUT_PP;
  GPIO_InitStruct.Pull = GPIO_NOPULL;
  GPIO_InitStruct.Speed = GPIO_SPEED_FREQ_LOW;
  HAL_GPIO_Init(GPIOB, &GPIO_InitStruct);

  /*Configure GPIO pins : LPS22HB_INT_DRDY_EXTI0_Pin LSM6DSL_INT1_EXTI11_Pin ARD_D2_Pin HTS221_DRDY_EXTI15_Pin
                           PMOD_IRQ_EXTI12_Pin */
  GPIO_InitStruct.Pin = LPS22HB_INT_DRDY_EXTI0_Pin|LSM6DSL_INT1_EXTI11_Pin|ARD_D2_Pin|HTS221_DRDY_EXTI15_Pin
                          |PMOD_IRQ_EXTI12_Pin;
  GPIO_InitStruct.Mode = GPIO_MODE_IT_RISING;
  GPIO_InitStruct.Pull = GPIO_NOPULL;
  HAL_GPIO_Init(GPIOD, &GPIO_InitStruct);

  /*Configure GPIO pins : USB_OTG_FS_PWR_EN_Pin SPBTLE_RF_SPI3_CSN_Pin PMOD_RESET_Pin STSAFE_A100_RESET_Pin */
  GPIO_InitStruct.Pin = USB_OTG_FS_PWR_EN_Pin|SPBTLE_RF_SPI3_CSN_Pin|PMOD_RESET_Pin|STSAFE_A100_RESET_Pin;
  GPIO_InitStruct.Mode = GPIO_MODE_OUTPUT_PP;
  GPIO_InitStruct.Pull = GPIO_NOPULL;
  GPIO_InitStruct.Speed = GPIO_SPEED_FREQ_LOW;
  HAL_GPIO_Init(GPIOD, &GPIO_InitStruct);

  /*Configure GPIO pins : VL53L0X_GPIO1_EXTI7_Pin LSM3MDL_DRDY_EXTI8_Pin */
  GPIO_InitStruct.Pin = VL53L0X_GPIO1_EXTI7_Pin|LSM3MDL_DRDY_EXTI8_Pin;
  GPIO_InitStruct.Mode = GPIO_MODE_IT_RISING;
  GPIO_InitStruct.Pull = GPIO_NOPULL;
  HAL_GPIO_Init(GPIOC, &GPIO_InitStruct);

  /*Configure GPIO pin : PMOD_SPI2_SCK_Pin */
  GPIO_InitStruct.Pin = PMOD_SPI2_SCK_Pin;
  GPIO_InitStruct.Mode = GPIO_MODE_AF_PP;
  GPIO_InitStruct.Pull = GPIO_NOPULL;
  GPIO_InitStruct.Speed = GPIO_SPEED_FREQ_VERY_HIGH;
  GPIO_InitStruct.Alternate = GPIO_AF5_SPI2;
  HAL_GPIO_Init(PMOD_SPI2_SCK_GPIO_Port, &GPIO_InitStruct);

  /*Configure GPIO pins : PMOD_UART2_CTS_Pin PMOD_UART2_RTS_Pin PMOD_UART2_TX_Pin PMOD_UART2_RX_Pin */
  GPIO_InitStruct.Pin = PMOD_UART2_CTS_Pin|PMOD_UART2_RTS_Pin|PMOD_UART2_TX_Pin|PMOD_UART2_RX_Pin;
  GPIO_InitStruct.Mode = GPIO_MODE_AF_PP;
  GPIO_InitStruct.Pull = GPIO_NOPULL;
  GPIO_InitStruct.Speed = GPIO_SPEED_FREQ_VERY_HIGH;
  GPIO_InitStruct.Alternate = GPIO_AF7_USART2;
  HAL_GPIO_Init(GPIOD, &GPIO_InitStruct);

  /*Configure GPIO pins : ARD_D15_Pin ARD_D14_Pin */
  GPIO_InitStruct.Pin = ARD_D15_Pin|ARD_D14_Pin;
  GPIO_InitStruct.Mode = GPIO_MODE_AF_OD;
  GPIO_InitStruct.Pull = GPIO_PULLUP;
  GPIO_InitStruct.Speed = GPIO_SPEED_FREQ_VERY_HIGH;
  GPIO_InitStruct.Alternate = GPIO_AF4_I2C1;
  HAL_GPIO_Init(GPIOB, &GPIO_InitStruct);

  /* EXTI interrupt init*/
  HAL_NVIC_SetPriority(EXTI9_5_IRQn, 0, 0);
  HAL_NVIC_EnableIRQ(EXTI9_5_IRQn);

  HAL_NVIC_SetPriority(EXTI15_10_IRQn, 0, 0);
  HAL_NVIC_EnableIRQ(EXTI15_10_IRQn);

}

 /**
  * @brief  Period elapsed callback in non blocking mode
  * @note   This function is called  when TIM1 interrupt took place, inside
  * HAL_TIM_IRQHandler(). It makes a direct call to HAL_IncTick() to increment
  * a global variable "uwTick" used as application time base.
  * @param  htim : TIM handle
  * @retval None
  */
void HAL_TIM_PeriodElapsedCallback(TIM_HandleTypeDef *htim)
{
  if (htim->Instance == TIM1) {
    HAL_IncTick();
  }
}

void Error_Handler(void)
{
}

/************************ (C) COPYRIGHT STMicroelectronics *****END OF FILE****/
